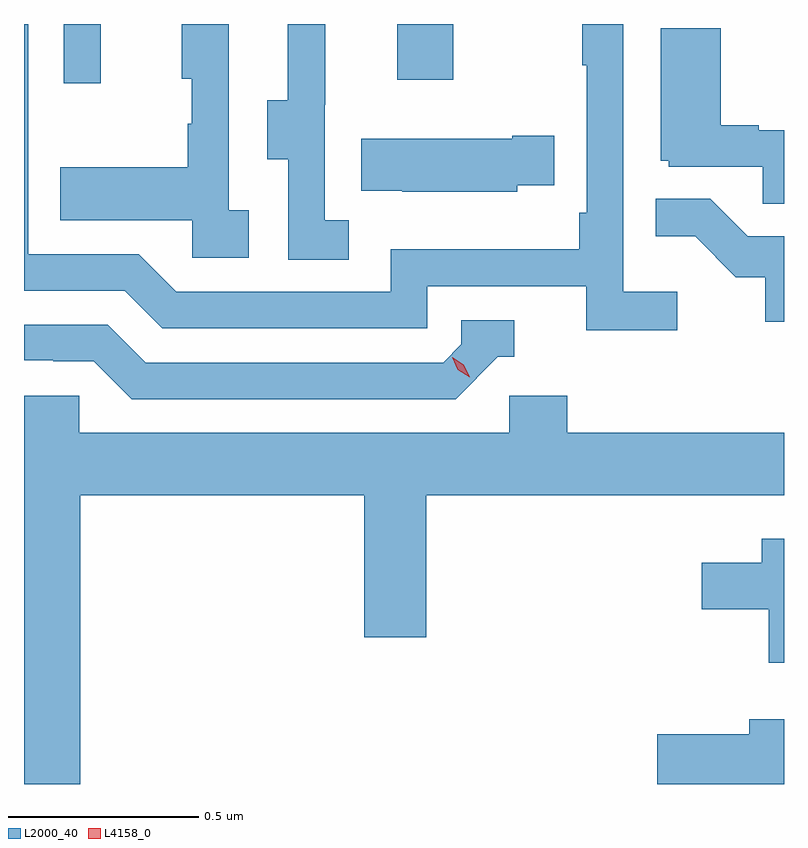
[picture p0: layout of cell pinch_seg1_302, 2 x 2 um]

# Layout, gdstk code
import gdstk
lib = gdstk.Library(unit=1e-6, precision=1e-09)
def R(c, l, rs):  # rectangles x0, y0, x1, y1
    for r in rs: c.add(gdstk.rectangle(r[:2], r[2:], *l))
def P(c, l, *ps):  # polygons
    for p in ps: c.add(gdstk.Polygon(p, *l))
L2000_40 = (2000, 40)
L4158_0 = (4158, 0)

pinch_seg1_302 = lib.new_cell('pinch_seg1_302')
R(pinch_seg1_302, L2000_40, [(943.437,547.488,943.535,547.644), (944.315,547.497,944.463,547.644)])
P(pinch_seg1_302, L2000_40, [(943.924,547.154),(943.872,547.154),(943.872,547.644),(943.748,547.644),(943.748,547.5),(943.774,547.5),(943.774,547.382),(943.764,547.382),(943.764,547.267),(943.429,547.267),(943.429,547.127),(943.776,547.127),(943.776,547.029),(943.924,547.029)],
  [(944.188,547.127),(944.124,547.127),(944.124,547.431),(944.126,547.431),(944.126,547.644),(944.027,547.644),(944.027,547.443),(943.973,547.443),(943.973,547.288),(944.028,547.288),(944.028,547.024),(944.188,547.024)],
  [(945.052,546.94),(944.91,546.94),(944.91,547.644),(944.802,547.644),(944.802,547.535),(944.814,547.535),(944.814,547.147),(944.794,547.147),(944.794,547.051),(944.298,547.051),(944.298,546.939),(943.734,546.939),(943.635,547.038),(943.344,547.038),(943.344,547.644),(943.333,547.644),(943.333,546.942),(943.598,546.942),(943.697,546.843),(944.394,546.843),(944.394,546.954),(944.813,546.954),(944.813,546.838),(945.052,546.838)],
  [(945.333,547.365),(945.266,547.365),(945.266,547.378),(945.166,547.378),(945.166,547.633),(945.008,547.633),(945.008,547.284),(945.03,547.284),(945.03,547.269),(945.277,547.269),(945.277,547.171),(945.333,547.171)],
  [(944.631,547.22),(944.729,547.22),(944.729,547.35),(944.618,547.35),(944.618,547.342),(944.221,547.342),(944.221,547.205),(944.329,547.205),(944.329,547.202),(944.631,547.202)],
  [(945.333,547.086),(945.237,547.086),(945.139,547.184),(944.995,547.184),(944.995,547.085),(945.099,547.085),(945.206,546.978),(945.283,546.978),(945.283,546.861),(945.333,546.861)],
  [(944.58,546.768),(944.623,546.768),(944.623,546.864),(944.484,546.864),(944.484,546.801),(944.436,546.753),(943.653,546.753),(943.554,546.852),(943.333,546.852),(943.333,546.759),(943.41,546.759),(943.41,546.756),(943.517,546.756),(943.616,546.657),(944.469,546.657)],
  [(943.481,546.404),(944.228,546.404),(944.228,546.03),(944.392,546.03),(944.392,546.404),(945.333,546.404),(945.333,546.568),(944.762,546.568),(944.762,546.666),(944.61,546.666),(944.61,546.568),(943.479,546.568),(943.479,546.666),(943.333,546.666),(943.333,545.644),(943.481,545.644)],
  [(945.333,546.289),(945.274,546.289),(945.274,546.226),(945.117,546.226),(945.117,546.104),(945.293,546.104),(945.293,545.963),(945.333,545.963)],
  [(945.333,545.815),(945.242,545.815),(945.242,545.775),(945,545.775),(945,545.644),(945.333,545.644)])
P(pinch_seg1_302, L4158_0, [(944.506,546.714),(944.475,546.734),(944.46,546.767),(944.46,546.767),(944.46,546.767),(944.49,546.747),(944.506,546.714),(944.506,546.714)])

lib.write_gds('pinch_seg1_302.gds')
